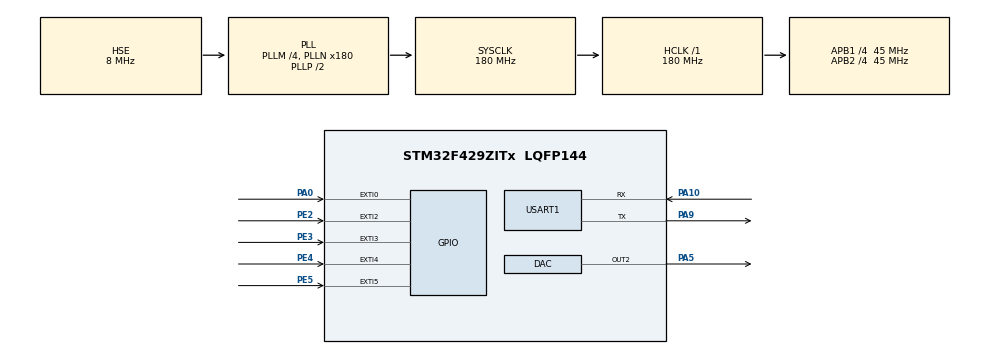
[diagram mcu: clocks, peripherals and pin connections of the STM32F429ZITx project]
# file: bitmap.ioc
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DAC.DAC_Trigger2=DAC_TRIGGER_T6_TRGO
Dma.DAC2.0.Direction=DMA_MEMORY_TO_PERIPH
Dma.DAC2.0.FIFOMode=DMA_FIFOMODE_ENABLE
Dma.DAC2.0.FIFOThreshold=DMA_FIFO_THRESHOLD_FULL
Dma.DAC2.0.Instance=DMA1_Stream6
Dma.DAC2.0.MemBurst=DMA_MBURST_SINGLE
Dma.DAC2.0.MemDataAlignment=DMA_MDATAALIGN_HALFWORD
Dma.DAC2.0.MemInc=DMA_MINC_ENABLE
Dma.DAC2.0.Mode=DMA_CIRCULAR
Dma.DAC2.0.PeriphBurst=DMA_PBURST_SINGLE
Dma.DAC2.0.PeriphDataAlignment=DMA_PDATAALIGN_HALFWORD
Dma.DAC2.0.PeriphInc=DMA_PINC_DISABLE
Dma.DAC2.0.Priority=DMA_PRIORITY_LOW
Dma.Request0=DAC2
Mcu.Family=STM32F4
Mcu.Name=STM32F429ZITx
Mcu.Package=LQFP144
NVIC.DMA1_Stream6_IRQn=true\:0\:0\:false\:false\:true\:false\:true\:true
NVIC.EXTI0_IRQn=true\:0\:0\:false\:false\:true\:true\:true\:true
NVIC.EXTI2_IRQn=true\:0\:0\:false\:false\:true\:true\:true\:true
NVIC.EXTI3_IRQn=true\:0\:0\:false\:false\:true\:true\:true\:true
NVIC.EXTI4_IRQn=true\:0\:0\:false\:false\:true\:true\:true\:true
NVIC.EXTI9_5_IRQn=true\:0\:0\:false\:false\:true\:true\:true\:true
NVIC.PriorityGroup=NVIC_PRIORITYGROUP_4
NVIC.TIM6_DAC_IRQn=true\:0\:0\:false\:false\:true\:true\:true\:true
PA0/WKUP.Signal=GPXTI0
PA10.Mode=Asynchronous
PA10.Signal=USART1_RX
PA5.Signal=COMP_DAC2_group
PA9.Mode=Asynchronous
PA9.Signal=USART1_TX
PE2.GPIO_ModeDefaultEXTI=GPIO_MODE_IT_FALLING
PE2.GPIO_PuPd=GPIO_PULLUP
PE2.Signal=GPXTI2
PE3.GPIO_ModeDefaultEXTI=GPIO_MODE_IT_FALLING
PE3.GPIO_PuPd=GPIO_PULLUP
PE3.Signal=GPXTI3
PE4.GPIO_ModeDefaultEXTI=GPIO_MODE_IT_FALLING
PE4.GPIO_PuPd=GPIO_PULLUP
PE4.Signal=GPXTI4
PE5.GPIO_ModeDefaultEXTI=GPIO_MODE_IT_FALLING
PE5.GPIO_PuPd=GPIO_PULLUP
PE5.Signal=GPXTI5
PH0/OSC_IN.Mode=HSE-External-Oscillator
PH0/OSC_IN.Signal=RCC_OSC_IN
PH1/OSC_OUT.Mode=HSE-External-Oscillator
PH1/OSC_OUT.Signal=RCC_OSC_OUT
ProjectManager.HeapSize=0x200
ProjectManager.StackSize=0x400
ProjectManager.TargetToolchain=CMake
RCC.48MHZClocksFreq_Value=90000000
RCC.AHBFreq_Value=180000000
RCC.APB1CLKDivider=RCC_HCLK_DIV4
RCC.APB1Freq_Value=45000000
RCC.APB1TimFreq_Value=90000000
RCC.APB2CLKDivider=RCC_HCLK_DIV4
RCC.APB2Freq_Value=45000000
RCC.APB2TimFreq_Value=90000000
RCC.CortexFreq_Value=180000000
RCC.HCLKFreq_Value=180000000
RCC.HSE_VALUE=8000000
RCC.HSI_VALUE=16000000
RCC.LSE_VALUE=32768
RCC.PLLM=4
RCC.PLLN=180
RCC.PLLSourceVirtual=RCC_PLLSOURCE_HSE
RCC.SYSCLKFreq_VALUE=180000000
RCC.SYSCLKSource=RCC_SYSCLKSOURCE_PLLCLK
RCC.VCOOutputFreq_Value=360000000
SH.COMP_DAC2_group.0=DAC_OUT2,DAC_OUT2
TIM6.Period=124
TIM6.Prescaler=179
TIM6.TIM_MasterOutputTrigger=TIM_TRGO_UPDATE
USART1.VirtualMode=VM_ASYNC
VP_TIM6_VS_ClockSourceINT.Mode=Enable_Timer
board=custom

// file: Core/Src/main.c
/* USER CODE BEGIN Header */
/**
  ******************************************************************************
  * @file           : main.c
  * @brief          : Main program body
  ******************************************************************************
  * @attention
  *
  * Copyright (c) 2025 STMicroelectronics.
  * All rights reserved.
  *
  * This software is licensed under terms that can be found in the LICENSE file
  * in the root directory of this software component.
  * If no LICENSE file comes with this software, it is provided AS-IS.
  *
  ******************************************************************************
  */
/* USER CODE END Header */
#include "main.h"

/* USER CODE BEGIN Includes */
#include <stdio.h>
#include <stdint.h>
#include <stdbool.h>
#include <stdlib.h>
#include <string.h>
#include <assert.h>
#include "stm32f429i_discovery_ts.h"
#include "stm32f429i_discovery_lcd.h"
#include "stm32f4xx.h"

// #include "frame_sizes.h"
static const
#include "frame_offset.h"

#include "stm32f4xx_hal_dac.h"

static const
#include "video_data.h"

static const
#include "audio_data.h"

static const
#include "lyrics.h"

#include "adpcm_states.h"
/* USER CODE END Includes */

/* USER CODE BEGIN PTD */
typedef struct {
  uint8_t x;
  uint8_t y;
  uint8_t width;
  uint8_t height;
  char *text;
} RectButton;
/* USER CODE END PTD */

/* USER CODE BEGIN PD */
#define WIDTH 240 /* framebuffer width in pixel */
#define HEIGHT 320 /* framebuffer height in pixel */
#define BPP 4 /* bytes/pixel */

#define SCREEN_X_OFFSET 40 /* Shift video horizontally */
#define SCREEN_Y_OFFSET 40 /* Shift video vertically */

#define VIDEO_WIDTH 160
#define VIDEO_HEIGHT 120

#define LCD_WIDTH_PX 240
#define FONT_WIDTH_PX 8   // for 8pt font (usually 8x8 or 8x16)
#define MAX_CHARS_PER_LINE (LCD_WIDTH_PX / FONT_WIDTH_PX)

#define LYRICS_X_OFFSET 20
#define LYRICS_ROMAJI_Y_OFFSET (VIDEO_HEIGHT + SCREEN_Y_OFFSET + 10)
#define LYRICS_ENGLISH_Y_OFFSET (VIDEO_HEIGHT + SCREEN_Y_OFFSET + 50)

#define NO_EVENT 0xFF

#define DAC_MID 2048
#define BUFFER_SIZE 256

/* USER CODE END PD */

DAC_HandleTypeDef hdac;
DMA_HandleTypeDef hdma_dac2;

TIM_HandleTypeDef htim6;

UART_HandleTypeDef huart1;

/* USER CODE BEGIN PV */
DMA2D_HandleTypeDef hdma2d;
LTDC_HandleTypeDef hltdc;
SDRAM_HandleTypeDef hsdram1;

static int LCD_LAYER_FRONT; // active display layer (front buffer)
static int LCD_LAYER_BACK;
static uint32_t* g_fb[2];

extern bool framebuffer_ready;

int16_t a_index = 0;
int32_t predsample = 0;

uint16_t frame_counter = 0;
// uint32_t frame_offset = 0;
uint16_t num_frames = sizeof(frame_offset) / sizeof(frame_offset[0]);

uint8_t lyric_idx = 0;
uint8_t lyric_count = sizeof(lyric_events) / sizeof(lyric_events[0]);

static TS_StateTypeDef  TS_State;
extern volatile bool playing_state;

bool lyric_toggle = true;
extern volatile bool seeking_in_progress;
// 2 variables for 2 different framebuffer lyric display states
uint8_t lyric_displayed[2] = {NO_EVENT, NO_EVENT};

uint16_t buffer_samples[BUFFER_SIZE];
unsigned int adpcm_data_index = 0;

RectButton btns[3] = {
	{10, 250, 60, 30, "Play"},
	{80, 250, 60, 30, "Lyric"},
	{150, 250, 60, 30, "Mute"}
};

uint32_t last_ms = 0;

/* USER CODE END PV */

void SystemClock_Config(void);
static void MX_GPIO_Init(void);
static void MX_DMA_Init(void);
static void MX_TIM6_Init(void);
static void MX_DAC_Init(void);
static void MX_USART1_UART_Init(void);
/* USER CODE BEGIN PFP */
void screen_flip_buffers(void);
uint8_t find_active_event(uint16_t frame_number);
void draw_video_frame(const uint8_t* frame_data);
void LCD_DisplayWrappedText(uint16_t x, uint16_t y, char *text);
void clear_lyric_area(void);
uint8_t find_lyric_index_for_frame(uint16_t frame_number);
void reset_adpcm_state(float time_seconds);
/* USER CODE END PFP */

int main(void)
{

  /* MCU Configuration--------------------------------------------------------*/

  /* Reset of all peripherals, Initializes the Flash interface and the Systick. */
  HAL_Init();

  /* Configure the system clock */
  SystemClock_Config();

  /* Initialize all configured peripherals */
  MX_GPIO_Init();
  MX_DMA_Init();
  MX_TIM6_Init();
  MX_DAC_Init();
  MX_USART1_UART_Init();
  /* USER CODE BEGIN 2 */
  if (HAL_TIM_Base_Start_IT(&htim6) != HAL_OK) {
      Error_Handler();
  }

  // DAC channel 1 fights with the VSYNC signal, so we use only channel 2 for audio output
  if (HAL_DAC_Start(&hdac, DAC_CHANNEL_2) != HAL_OK) {
      Error_Handler();
  }

  BSP_LED_Init(LED3);
  BSP_LED_Init(LED4);
  BSP_LED_On(LED4); /* RED LED active until init is complete */

  BSP_LCD_Init();
  LCD_LAYER_FRONT = 1;
  LCD_LAYER_BACK = 0;
  g_fb[0] = (uint32_t*)LCD_FRAME_BUFFER;
  g_fb[1] = (uint32_t*)(LCD_FRAME_BUFFER + WIDTH * HEIGHT * BPP);
  BSP_LCD_LayerDefaultInit(0, (uint32_t)g_fb[0]);
  BSP_LCD_LayerDefaultInit(1, (uint32_t)g_fb[1]);
  BSP_LCD_SetLayerVisible(0, DISABLE);
  BSP_LCD_SetLayerVisible(1, ENABLE);
  BSP_LCD_SelectLayer(LCD_LAYER_FRONT);
  BSP_LCD_Clear(LCD_COLOR_BLACK);
  BSP_LCD_SetTextColor(LCD_COLOR_WHITE);
  BSP_LCD_SetBackColor(LCD_COLOR_BLACK);
  BSP_LCD_SetFont(&Font12);

  BSP_LCD_SelectLayer(LCD_LAYER_BACK);
  BSP_LCD_DisplayOn();
  BSP_LCD_Clear(LCD_COLOR_BLACK);
  BSP_LCD_SetBackColor(LCD_COLOR_BLACK);
  BSP_LCD_SetTextColor(LCD_COLOR_WHITE);
  BSP_LCD_SetFont(&Font12);

  /* ChromART (DMA2D) setup */
  /* ---------------------- */
  hdma2d.Init.Mode         = DMA2D_M2M; // convert 8bit palette colors to 32bit ARGB888
  hdma2d.Init.ColorMode    = DMA2D_ARGB8888; // destination color format
  hdma2d.Init.OutputOffset = 0;
  hdma2d.Instance = DMA2D;
  hdma2d.LayerCfg[LCD_LAYER_FRONT].AlphaMode = DMA2D_NO_MODIF_ALPHA;
  hdma2d.LayerCfg[LCD_LAYER_FRONT].InputAlpha = 0xFF; // N/A only for A8 or A4
  hdma2d.LayerCfg[LCD_LAYER_FRONT].InputColorMode = DMA2D_INPUT_ARGB8888; // source format
  hdma2d.LayerCfg[LCD_LAYER_FRONT].InputOffset = 0;
  HAL_DMA2D_Init(&hdma2d);
  HAL_DMA2D_ConfigLayer(&hdma2d, LCD_LAYER_FRONT);

  if (BSP_TS_Init(WIDTH, HEIGHT) != TS_OK)
  {
    Error_Handler();
  }

  // HAL_DAC_ConvCpltCallbackCh1(&hdac);
  HAL_DACEx_ConvHalfCpltCallbackCh2(&hdac);

  BSP_LED_Off(LED4); /* init complete, clear RED LED */
  last_ms = HAL_GetTick();

  int current_event = 0;

  // Make audio ready
  HAL_DAC_Start_DMA(&hdac, DAC_CHANNEL_2, (uint32_t*)buffer_samples, BUFFER_SIZE, DAC_ALIGN_12B_R);

  /* USER CODE END 2 */

  /* Infinite loop */
  /* USER CODE BEGIN WHILE */
  while (1)
  {
    if (framebuffer_ready && !seeking_in_progress)
    {
        framebuffer_ready = false;

        BSP_TS_GetState(&TS_State);
        if (TS_State.TouchDetected) {
            BSP_LED_On(LED3);
        } else {
            BSP_LED_Off(LED3);
        }

        // Pause/play handling
        if (!playing_state) {
            continue;
        }

        if (frame_counter >= num_frames)
        {
            // frame_counter = 0;
            // frame_offset = 0;
            // lyric_idx = 0;
            // Let's not loop for this demo
            playing_state = false;
            continue;
        }

        const uint8_t* frame_data = &video_data_bin[frame_offset[frame_counter]];
        draw_video_frame(frame_data);

        // frame_offset += frame_sizes[frame_counter];
        frame_counter++;

        // Handle lyric display
        current_event = find_active_event(frame_counter);

        if (lyric_displayed[LCD_LAYER_BACK] != current_event) {
            // Clear lyric area
            clear_lyric_area();

            if (current_event != NO_EVENT) {
                // Display lyric
                LCD_DisplayWrappedText(LYRICS_X_OFFSET, LYRICS_ROMAJI_Y_OFFSET,
                                     (char*)lyrics_romaji[lyric_events[current_event].lyric_index]);
                LCD_DisplayWrappedText(LYRICS_X_OFFSET, LYRICS_ENGLISH_Y_OFFSET,
                                     (char*)lyrics_english[lyric_events[current_event].lyric_index]);
            }

            lyric_displayed[LCD_LAYER_BACK] = current_event;
        }
        screen_flip_buffers(); /* swap backbuffer and frontbuffer */
    }
    /* USER CODE END WHILE */

  }
}

void SystemClock_Config(void)
{
  RCC_OscInitTypeDef RCC_OscInitStruct = {0};
  RCC_ClkInitTypeDef RCC_ClkInitStruct = {0};

  /** Configure the main internal regulator output voltage
  */
  __HAL_RCC_PWR_CLK_ENABLE();
  __HAL_PWR_VOLTAGESCALING_CONFIG(PWR_REGULATOR_VOLTAGE_SCALE1);

  /** Initializes the RCC Oscillators according to the specified parameters
  * in the RCC_OscInitTypeDef structure.
  */
  RCC_OscInitStruct.OscillatorType = RCC_OSCILLATORTYPE_HSE;
  RCC_OscInitStruct.HSEState = RCC_HSE_ON;
  RCC_OscInitStruct.PLL.PLLState = RCC_PLL_ON;
  RCC_OscInitStruct.PLL.PLLSource = RCC_PLLSOURCE_HSE;
  RCC_OscInitStruct.PLL.PLLM = 4;
  RCC_OscInitStruct.PLL.PLLN = 180;
  RCC_OscInitStruct.PLL.PLLP = RCC_PLLP_DIV2;
  RCC_OscInitStruct.PLL.PLLQ = 4;
  if (HAL_RCC_OscConfig(&RCC_OscInitStruct) != HAL_OK)
  {
    Error_Handler();
  }

  /** Activate the Over-Drive mode
  */
  if (HAL_PWREx_EnableOverDrive() != HAL_OK)
  {
    Error_Handler();
  }

  /** Initializes the CPU, AHB and APB buses clocks
  */
  RCC_ClkInitStruct.ClockType = RCC_CLOCKTYPE_HCLK|RCC_CLOCKTYPE_SYSCLK
                              |RCC_CLOCKTYPE_PCLK1|RCC_CLOCKTYPE_PCLK2;
  RCC_ClkInitStruct.SYSCLKSource = RCC_SYSCLKSOURCE_PLLCLK;
  RCC_ClkInitStruct.AHBCLKDivider = RCC_SYSCLK_DIV1;
  RCC_ClkInitStruct.APB1CLKDivider = RCC_HCLK_DIV4;
  RCC_ClkInitStruct.APB2CLKDivider = RCC_HCLK_DIV4;

  if (HAL_RCC_ClockConfig(&RCC_ClkInitStruct, FLASH_LATENCY_5) != HAL_OK)
  {
    Error_Handler();
  }
}

static void MX_DAC_Init(void)
{

  DAC_ChannelConfTypeDef sConfig = {0};

  /** DAC Initialization
  */
  hdac.Instance = DAC;
  if (HAL_DAC_Init(&hdac) != HAL_OK)
  {
    Error_Handler();
  }

  /** DAC channel OUT2 config
  */
  sConfig.DAC_Trigger = DAC_TRIGGER_T6_TRGO;
  sConfig.DAC_OutputBuffer = DAC_OUTPUTBUFFER_ENABLE;
  if (HAL_DAC_ConfigChannel(&hdac, &sConfig, DAC_CHANNEL_2) != HAL_OK)
  {
    Error_Handler();
  }

}

static void MX_TIM6_Init(void)
{

  TIM_MasterConfigTypeDef sMasterConfig = {0};

  htim6.Instance = TIM6;
  htim6.Init.Prescaler = 179;
  htim6.Init.CounterMode = TIM_COUNTERMODE_UP;
  htim6.Init.Period = 124;
  htim6.Init.AutoReloadPreload = TIM_AUTORELOAD_PRELOAD_DISABLE;
  if (HAL_TIM_Base_Init(&htim6) != HAL_OK)
  {
    Error_Handler();
  }
  sMasterConfig.MasterOutputTrigger = TIM_TRGO_UPDATE;
  sMasterConfig.MasterSlaveMode = TIM_MASTERSLAVEMODE_DISABLE;
  if (HAL_TIMEx_MasterConfigSynchronization(&htim6, &sMasterConfig) != HAL_OK)
  {
    Error_Handler();
  }

}

static void MX_USART1_UART_Init(void)
{

  huart1.Instance = USART1;
  huart1.Init.BaudRate = 115200;
  huart1.Init.WordLength = UART_WORDLENGTH_8B;
  huart1.Init.StopBits = UART_STOPBITS_1;
  huart1.Init.Parity = UART_PARITY_NONE;
  huart1.Init.Mode = UART_MODE_TX_RX;
  huart1.Init.HwFlowCtl = UART_HWCONTROL_NONE;
  huart1.Init.OverSampling = UART_OVERSAMPLING_16;
  if (HAL_UART_Init(&huart1) != HAL_OK)
  {
    Error_Handler();
  }

}

static void MX_DMA_Init(void)
{

  /* DMA controller clock enable */
  __HAL_RCC_DMA1_CLK_ENABLE();

  /* DMA interrupt init */
  /* DMA1_Stream6_IRQn interrupt configuration */
  HAL_NVIC_SetPriority(DMA1_Stream6_IRQn, 0, 0);
  HAL_NVIC_EnableIRQ(DMA1_Stream6_IRQn);

}

static void MX_GPIO_Init(void)
{
  GPIO_InitTypeDef GPIO_InitStruct = {0};

  /* GPIO Ports Clock Enable */
  __HAL_RCC_GPIOE_CLK_ENABLE();
  __HAL_RCC_GPIOH_CLK_ENABLE();
  __HAL_RCC_GPIOA_CLK_ENABLE();

  /*Configure GPIO pins : PE2 PE3 PE4 PE5 */
  GPIO_InitStruct.Pin = GPIO_PIN_2|GPIO_PIN_3|GPIO_PIN_4|GPIO_PIN_5;
  GPIO_InitStruct.Mode = GPIO_MODE_IT_FALLING;
  GPIO_InitStruct.Pull = GPIO_PULLUP;
  HAL_GPIO_Init(GPIOE, &GPIO_InitStruct);

  /*Configure GPIO pin : PA0 */
  GPIO_InitStruct.Pin = GPIO_PIN_0;
  GPIO_InitStruct.Mode = GPIO_MODE_IT_RISING;
  GPIO_InitStruct.Pull = GPIO_NOPULL;
  HAL_GPIO_Init(GPIOA, &GPIO_InitStruct);

  /* EXTI interrupt init*/
  HAL_NVIC_SetPriority(EXTI0_IRQn, 0, 0);
  HAL_NVIC_EnableIRQ(EXTI0_IRQn);

  HAL_NVIC_SetPriority(EXTI2_IRQn, 0, 0);
  HAL_NVIC_EnableIRQ(EXTI2_IRQn);

  HAL_NVIC_SetPriority(EXTI3_IRQn, 0, 0);
  HAL_NVIC_EnableIRQ(EXTI3_IRQn);

  HAL_NVIC_SetPriority(EXTI4_IRQn, 0, 0);
  HAL_NVIC_EnableIRQ(EXTI4_IRQn);

  HAL_NVIC_SetPriority(EXTI9_5_IRQn, 0, 0);
  HAL_NVIC_EnableIRQ(EXTI9_5_IRQn);

}

/* USER CODE BEGIN 4 */
void screen_flip_buffers(void)
{
  // wait for VSYNC
    while (!(LTDC->CDSR & LTDC_CDSR_VSYNCS)) {}

    BSP_LCD_SetLayerVisible(LCD_LAYER_FRONT, DISABLE);
    LCD_LAYER_BACK = LCD_LAYER_FRONT;
    LCD_LAYER_FRONT ^= 1;
    BSP_LCD_SetLayerVisible(LCD_LAYER_FRONT, ENABLE);
    BSP_LCD_SelectLayer(LCD_LAYER_BACK);
}

uint8_t find_active_event(uint16_t frame_number)
{
    while (lyric_idx < lyric_count &&
            frame_number >= lyric_events[lyric_idx].end_frame) {
        lyric_idx++;
    }

    if (lyric_toggle) {
        return NO_EVENT;
    }

    if (lyric_idx < lyric_count &&
        frame_number >= lyric_events[lyric_idx].start_frame &&
        frame_number < lyric_events[lyric_idx].end_frame) {
            return lyric_idx;
    }

    return NO_EVENT;
}

void LCD_DisplayWrappedText(uint16_t x, uint16_t y, char *text)
{
    char line[64];
    int line_len = 0;
    int y_offset = 0;

    while (*text)
    {
        int word_len = 0;

        // Measure next word
        while (text[word_len] && text[word_len] != ' ')
            word_len++;

        // If word doesn't fit on current line, flush line
        if (line_len + word_len > MAX_CHARS_PER_LINE)
        {
            line[line_len] = '\0';
            BSP_LCD_DisplayStringAt(x, y + y_offset, (uint8_t*)line, LEFT_MODE);
            y_offset += BSP_LCD_GetFont()->Height;
            line_len = 0;
        }

        // Copy word
        for (int i = 0; i < word_len; i++)
            line[line_len++] = *text++;

        // Skip space
        if (*text == ' ')
        {
            line[line_len++] = ' ';
            text++;
        }
    }

    // Flush last line
    if (line_len > 0)
    {
        line[line_len] = '\0';
        BSP_LCD_DisplayStringAt(x, y + y_offset, (uint8_t*)line, LEFT_MODE);
    }
}

void clear_lyric_area(void)
{
    // Clear the lyric display area
    uint16_t rect_x = LYRICS_X_OFFSET;
    uint16_t rect_y = LYRICS_ROMAJI_Y_OFFSET;
    uint16_t rect_width = LCD_WIDTH_PX - LYRICS_X_OFFSET;
    uint16_t rect_height = 6 * BSP_LCD_GetFont()->Height + 10; // enough for 3 lines
    BSP_LCD_SetTextColor(LCD_COLOR_BLACK);
    BSP_LCD_FillRect(rect_x, rect_y, rect_width, rect_height);
    BSP_LCD_SetTextColor(LCD_COLOR_WHITE);
}

/**
  * @brief  Draw a video frame from RLE encoded data
  * @param  frame_data: Pointer to RLE encoded frame data
  * @retval None
  */
void draw_video_kframe(const uint8_t* frame_data)
{
  for(int y = 0; y < VIDEO_HEIGHT; y++) {
    int x = 0;
    while(1) {
      uint8_t r = *frame_data++;
      if (r == 0) break; // end of line

      uint8_t color = r >> 7;
      uint8_t run = r & 0x7F;
      uint32_t pix = color ? 0xFF000000u : 0xFFFFFFFFu ; // ARGB8888 (opaque white / black)
      for(int i = 0; i < run && x < VIDEO_WIDTH; i++, x++) {
        g_fb[LCD_LAYER_BACK][(y + SCREEN_Y_OFFSET) * WIDTH + (x + SCREEN_X_OFFSET)] = pix;
      }
    }
  }
}

void copy_video_frame()
{
  for(int y = 0; y < VIDEO_HEIGHT; y++) {
    for(int x = 0; x < VIDEO_WIDTH; x++) {
      g_fb[LCD_LAYER_BACK][(y + SCREEN_Y_OFFSET) * WIDTH + (x + SCREEN_X_OFFSET)] =
        g_fb[LCD_LAYER_FRONT][(y + SCREEN_Y_OFFSET) * WIDTH + (x + SCREEN_X_OFFSET)];
    }
  }
}

void draw_video_iframe(const uint8_t* frame_data)
{
  copy_video_frame();
  uint8_t bitmap[15];
  memcpy(bitmap, frame_data, 15);
  frame_data += 15;
  for(int y = 0; y < VIDEO_HEIGHT; y++) {
    if (bitmap[y >> 3] & (1 << (7 - (y & 7)))) {
      int x = 0;
      while(1) {
        uint8_t r = *frame_data++;
        if (r == 0) break; // end of line

        uint8_t color = r >> 7;
        uint8_t run = r & 0x7F;
        uint32_t pix = color ? 0xFF000000u : 0xFFFFFFFFu ; // ARGB8888 (opaque white / black)
        for(int i = 0; i < run && x < VIDEO_WIDTH; i++, x++) {
          g_fb[LCD_LAYER_BACK][(y + SCREEN_Y_OFFSET) * WIDTH + (x + SCREEN_X_OFFSET)] = pix;
        }
      }
    }
  }
}

void draw_video_frame(const uint8_t* frame_data)
{
  // Detect frame type
  if (frame_data[0] == 0x00) {
    // Keyframe
    draw_video_kframe(frame_data + 1);
  } else if (frame_data[0] == 0x01) {
    // Delta frame - not implemented
    draw_video_iframe(frame_data + 1);
  } else if (frame_data[0] == 0x02) {
    // Duplicate frame
    copy_video_frame();
  }
}

void fill_range(int start, int end)
{
    for (int i = start; i < end; i += 2)
    {
        if (adpcm_data_index < sizeof(adpcm_data))
        {
            uint8_t b = adpcm_data[adpcm_data_index++];
            int16_t s1 = ADPCM_Decode((b >> 4) & 0x0F);
            int16_t s2 = ADPCM_Decode(b & 0x0F);
            buffer_samples[i]     = ((uint16_t)(32768 + s1)) >> 4;
            buffer_samples[i + 1] = ((uint16_t)(32768 + s2)) >> 4;
        }
        else
        {
            buffer_samples[i]     = DAC_MID;
            buffer_samples[i + 1] = DAC_MID;
        }
    }
}

void fill_blank_range(int start, int end)
{
    for (int i = start; i < end; i++)
    {
        buffer_samples[i] = DAC_MID;
    }
}

/**
  * @brief  Find the lyric index for a given frame number
  * @param  frame_number: The target frame number
  * @retval Lyric index (0 to lyric_count-1) or NO_EVENT if not found
  */
uint8_t find_lyric_index_for_frame(uint16_t frame_number)
{
    // Find the event that contains this frame
    for (uint8_t i = 0; i < lyric_count; i++)
    {
        if (frame_number >= lyric_events[i].start_frame &&
            frame_number < lyric_events[i].end_frame)
        {
            return i;
        }
        // If we've passed the frame, return the previous event if it exists
        if (frame_number < lyric_events[i].start_frame)
        {
            return (i > 0) ? (i - 1) : 0;
        }
    }
    // If beyond all events, return last event index
    return (lyric_count > 0) ? (lyric_count - 1) : 0;
}

/**
  * @brief  Reset ADPCM decoder state based on time
  * @param  time_seconds: Time in seconds to seek to
  * @retval None
  */
void reset_adpcm_state(float time_seconds)
{
    // Calculate the audio data index (2048 samples per second)
    unsigned int target_index = (unsigned int)(time_seconds * 2048.0f);

    // Each saved state corresponds to 2048 samples
    unsigned int state_index = target_index / 2048;

    // Limit to available saved states
    unsigned int num_states = sizeof(saved_states) / sizeof(saved_states[0]);
    if (state_index >= num_states)
    {
        state_index = num_states - 1;
    }

    // Restore the ADPCM state
    a_index = saved_states[state_index].index;
    predsample = saved_states[state_index].predsample;

    // Set the audio data index
    adpcm_data_index = state_index * 2048;
}

void print_debugging_info()
{
  uint32_t current_ms = HAL_GetTick();
  if (current_ms - last_ms >= 1000)
  {
    char msg[100];
    int len = snprintf(msg, sizeof(msg), "ADPCM index: %d, PredSample: %ld\r\n", a_index, predsample);
    HAL_UART_Transmit(&huart1, (uint8_t *)msg, len, HAL_MAX_DELAY);
    last_ms = current_ms;
  }
}

void HAL_DACEx_ConvCpltCallbackCh2(DAC_HandleTypeDef *hdac)
{
  if (!playing_state) fill_blank_range(0, BUFFER_SIZE);
  else
  {
    fill_range(0, BUFFER_SIZE);
    // print_debugging_info();
  }
}

/* USER CODE END 4 */

void Error_Handler(void)
{
  __disable_irq();
  while (1)
  {
  }
}
